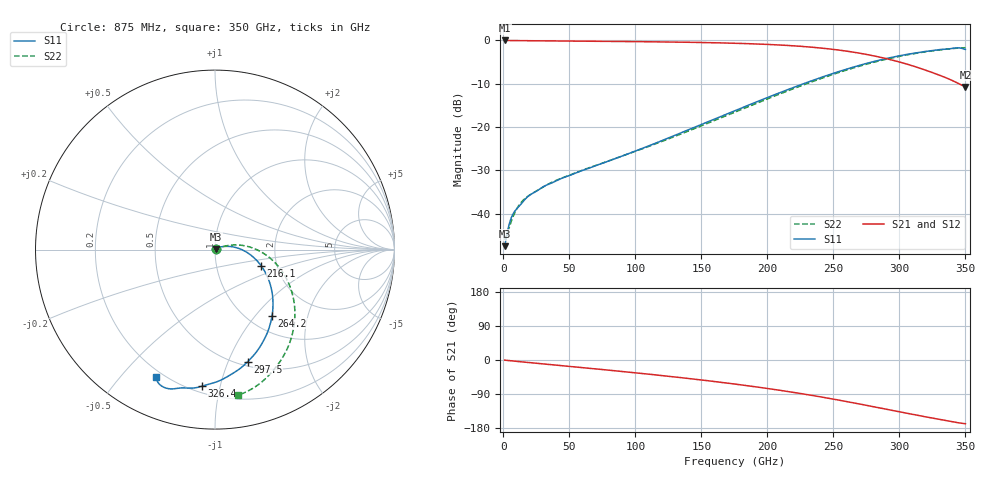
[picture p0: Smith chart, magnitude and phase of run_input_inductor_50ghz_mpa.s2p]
#  Hz  S  RI  R  50
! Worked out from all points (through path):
!   400 points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, 875 MHz to 350 GHz, reference 50 ohm
!   highest |S21| = -0.04 dB at 875 MHz (marker M1); lowest = -10.8 dB at 350 GHz (marker M2)
!   group delay of S21, straight-line fit = 1.33 ps
!   lowest |S11| = -47.5 dB at 875 MHz (marker M3), VSWR 1.01, Z = 50.4 + j0.114 ohm
!   |S11| at or under -10 dB: start of sweep to 227.5 GHz
!   |S22| runs from -46.0 to -1.7 dB; largest |S21 - S12| = 0.0063
!   S11 on the Smith chart (normalised r, x): 875 MHz: 1.01, +0.00; 216.1 GHz: 1.65, -0.32; 264.2 GHz: 1.27, -1.23; 297.5 GHz: 0.55, -1.18; 326.4 GHz: 0.24, -0.88; 350 GHz: 0.17, -0.63
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8.75e8  0.00407 0.00113  0.9949 -0.00566  0.9958 -0.00601  0.00495 0.000816
3.5e9  0.0053 0.00405  0.9941 -0.0225  0.9942 -0.0235  0.00547 0.00317
6.125e9  0.0071 0.00574  0.9926 -0.039  0.9918 -0.0395  0.0065 0.00522
1.1375e10  0.00944 0.00736  0.9881 -0.0702  0.988 -0.0695  0.00932 0.00795
1.75e10  0.012 0.00945  0.9824 -0.1047  0.9827 -0.105  0.0123 0.00935
3.15e10  0.0174 0.0117  0.9672 -0.183  0.9669 -0.1829  0.0174 0.0117
5.95e10  0.028 0.0141  0.9181 -0.3334  0.9181 -0.3332  0.0283 0.0142
1.1725e11  0.0643 0.0182  0.7338 -0.6168  0.7338 -0.6168  0.0622 0.021
1.47e11  0.1011 0.0151  0.5882 -0.7388  0.588 -0.7387  0.0956 0.0255
1.75875e11  0.1551 -0.00293  0.4089 -0.8279  0.4087 -0.8276  0.1477 0.0241
1.96875e11  0.2061 -0.0356  0.2546 -0.8635  0.2544 -0.8634  0.2015 0.0119
2.16125e11  0.2569 -0.09  0.0987 -0.8644  0.0985 -0.8643  0.263 -0.0163
2.33625e11  0.2984 -0.1662  -0.0483 -0.8305  -0.0486 -0.8305  0.3255 -0.064
2.6425e11  0.3183 -0.3675  -0.2795 -0.6773  -0.2804 -0.677  0.4223 -0.2178
2.7825e11  0.2851 -0.4785  -0.3542 -0.5712  -0.3551 -0.5704  0.4436 -0.3186
2.9225e11  0.2169 -0.5873  -0.3983 -0.4522  -0.3992 -0.4511  0.439 -0.4319
2.975e11  0.1826 -0.6239  -0.4063 -0.4069  -0.4071 -0.4057  0.4297 -0.4755
3.15e11  0.0377 -0.7248  -0.4008 -0.2622  -0.4014 -0.2609  0.3672 -0.6165
3.26375e11  -0.0745 -0.7618  -0.3749 -0.1818  -0.3751 -0.1799  0.304 -0.6964
3.43e11  -0.2596 -0.7747  -0.3156 -0.0861  -0.3177 -0.0853  0.1843 -0.7876
3.47375e11  -0.3172 -0.741  -0.2953 -0.0679  -0.2961 -0.0626  0.1504 -0.8031
3.5e11  -0.3264 -0.7113  -0.2831 -0.0592  -0.28 -0.0536  0.1308 -0.8111
